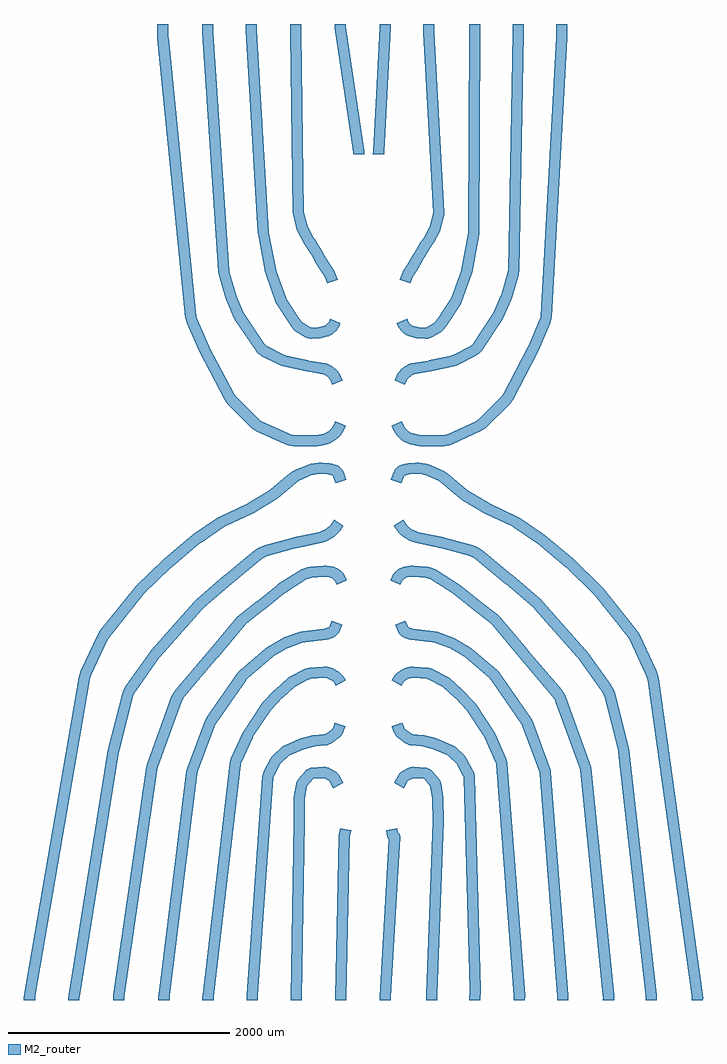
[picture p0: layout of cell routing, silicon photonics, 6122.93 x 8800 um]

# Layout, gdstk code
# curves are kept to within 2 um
import gdstk
lib = gdstk.Library(unit=1e-6, precision=1e-09)
def P(c, l, *ps):  # polygons
    for p in ps: c.add(gdstk.Polygon(p, *l))
M2_router = (12, 0)

routing = lib.new_cell('routing')
P(routing, M2_router, [(420.245,2060.518),(326.651,2095.734),(357.027,2173.015),(440.384,2305.023),(516.977,2436.928),(545.864,2478.916),(596.979,2572.418),(629.42,2699.89),(536.61,4320.084),(536.814,4400),(636.816,4400),(636.535,4324.264),(729.185,2690.283),(686.857,2528.352),(632.331,2428.611),(602.226,2384.621),(526.108,2253.527),(443.659,2122.747)],
  [(-327.617,2060.518),(-351.073,2122.81),(-433.469,2253.508),(-509.581,2384.592),(-539.741,2428.68),(-594.116,2528.145),(-635.583,2682.612),(-662.298,4400),(-562.298,4400),(-537.229,2701.603),(-504.35,2572.415),(-453.255,2478.95),(-424.321,2436.881),(-347.767,2305.042),(-264.49,2173.154),(-234.023,2095.734)],
  [(-416.445,593.559),(-633.455,594.216),(-683.723,602.314),(-707.578,610.614),(-966.063,729.919),(-1017.322,765.661),(-1223.469,971.808),(-1252.272,1010.894),(-1478.647,1440.711),(-1592.539,1704.211),(-1604.947,1752.136),(-1857.664,4268.993),(-1859.511,4400),(-1759.506,4400),(-1757.94,4276.747),(-1505.927,1766.896),(-1498.797,1739.36),(-1389.258,1485.582),(-1165.984,1061.653),(-1149.434,1039.195),(-940.365,831.477),(-920.512,819.032),(-670.105,703.456),(-628.269,694.2),(-422.189,693.576),(-355.762,707.427),(-320.858,723.516),(-293.888,746.279),(-276.105,768.113),(-253.458,816.431),(-161.842,776.349),(-179.434,736.137),(-206.482,693.688),(-223.324,675.258),(-264.945,640.439),(-284.97,628.454),(-327.833,611.304),(-385.998,597.161)],
  [(508.237,593.556),(479.438,596.963),(418.041,611.893),(377.433,628.141),(358.451,639.502),(314.448,676.614),(298.5,694.066),(272.874,734.282),(254.47,776.349),(346.086,816.431),(368.898,767.415),(385.012,747.636),(414.364,722.58),(445.97,708.016),(513.98,693.574),(722.946,694.207),(760.872,702.597),(1014.661,819.734),(1032.648,831.008),(1242.984,1040.117),(1258.004,1060.499),(1482.011,1485.82),(1590.277,1736.693),(1597.562,1767.654),(1737.181,4277.042),(1737.617,4400),(1837.617,4400),(1837.1,4272.805),(1697.186,1758.113),(1683.701,1700.808),(1571.4,1440.948),(1344.292,1009.74),(1317.019,972.73),(1108.766,764.477),(1060.212,730.621),(798.345,609.755),(775.757,601.896),(728.133,594.222)],
  [(-461.756,1562.254),(-488.652,1564.419),(-514.975,1572.047),(-592.771,1615.13),(-622.362,1639.88),(-661.305,1687.298),(-789.729,1887.416),(-885.752,2158.238),(-952.31,2512.919),(-1062.053,4336.916),(-1062.268,4400),(-962.268,4400),(-962.146,4341.455),(-852.682,2522.098),(-787.148,2176.731),(-694.822,1921.156),(-579.224,1744.492),(-542.883,1702.156),(-481.162,1666.594),(-463.087,1662.334),(-403.101,1666.122),(-344.644,1681.497),(-314.909,1709.757),(-300.255,1742.229),(-207.945,1703.771),(-220.35,1673.997),(-234.333,1650.307),(-267.165,1615.003),(-299.252,1592.258),(-323.589,1582.728),(-383.69,1567.913)],
  [(557.034,1562.107),(476.872,1567.777),(413.726,1583.342),(391.243,1592.148),(361.586,1613.167),(326.511,1650.639),(313.592,1672.523),(300.573,1703.771),(392.883,1742.229),(407.087,1710.088),(436.635,1681.387),(496.283,1665.985),(558.366,1662.187),(571.484,1665.278),(635.999,1702.343),(671.657,1744.194),(787.846,1921.761),(879.938,2177.183),(944.956,2520.902),(953.287,4400),(1053.291,4400),(1043.708,2503.117),(978.291,2157.767),(874.75,1871.937),(753.738,1687),(705.77,1630.332),(686.703,1615.874),(606.23,1571.164),(581.882,1564.109)],
  [(185.598,3225.51),(85.598,3225.764),(85.659,3249.753),(85.71,3251.536),(146.281,4371.194),(146.309,4400),(246.309,4400),(246.28,4369.355),(246.229,4367.516),(185.655,3247.827)],
  [(-92.97,3225.51),(-93.02,3245.475),(-258.745,4363.125),(-259.189,4369.09),(-259.228,4400),(-159.228,4400),(-159.195,4373.527),(6.525,3255.92),(6.968,3250.008),(7.03,3225.764)],
  [(-280.583,1149.568),(-302.833,1197.494),(-335.039,1227.693),(-350.464,1237.222),(-367.677,1242.92),(-517.631,1268.392),(-737.945,1318.315),(-916.051,1406.003),(-947.658,1428.185),(-973.661,1456.733),(-1159.346,1733.757),(-1238.502,1911.69),(-1306.632,2143.396),(-1310.419,2164.838),(-1454.912,4314.936),(-1455.101,4400),(-1355.101,4400),(-1355.024,4319.955),(-1211.006,2176.923),(-1145.523,1948.639),(-1073.768,1785.687),(-893.165,1516.245),(-881.47,1503.35),(-867.199,1493.381),(-704.51,1412.673),(-497.28,1366.308),(-346.27,1340.72),(-308.115,1327.996),(-290.17,1318.328),(-245.384,1282.684),(-221.928,1256.484),(-204.156,1226.14),(-188.277,1188.032)],
  [(373.211,1149.568),(280.905,1188.032),(297.597,1228.091),(314.326,1256.652),(336.402,1281.313),(383.681,1319.23),(400.585,1328.337),(436.497,1340.314),(589.758,1366.274),(797.162,1412.604),(961.914,1494.424),(974.326,1503.091),(984.494,1514.308),(1166.707,1786.15),(1240.251,1954.381),(1303.065,2177.261),(1345.103,4319.112),(1343.52,4400),(1443.54,4400),(1445.103,4318.14),(1402.965,2171.189),(1398.153,2139.584),(1335.395,1923.435),(1252.285,1734.22),(1064.99,1454.795),(1040.514,1427.926),(1010.765,1407.046),(830.597,1318.246),(610.108,1268.359),(457.903,1242.514),(442.933,1237.563),(429.521,1229.273),(395.231,1197.662)],
  [(-255.027,-4400),(-254.929,-4370.385),(-254.922,-4369.771),(-223.636,-2920.484),(-222.953,-2914.425),(-209.813,-2850.598),(-111.867,-2870.762),(-123.79,-2928.676),(-154.931,-4371.307),(-155.026,-4400)],
  [(-655.39,-4400),(-627.481,-2573.152),(-607.937,-2451.102),(-602.687,-2433.449),(-588.672,-2409.47),(-519.98,-2330.5),(-503.712,-2318.832),(-475.718,-2308.153),(-358.196,-2298.818),(-339.726,-2299.902),(-313.067,-2308.135),(-257.484,-2337.037),(-241.717,-2348.202),(-222.885,-2370.424),(-183.908,-2439.279),(-270.932,-2488.541),(-307.662,-2423.656),(-355.327,-2398.872),(-454.08,-2406.023),(-509.882,-2471.204),(-528.179,-2585.711),(-555.388,-4400)],
  [(-1054.326,-4400),(-1054.496,-4352.95),(-912.196,-2384.17),(-905.203,-2353.676),(-825.91,-2205.931),(-728.972,-2114.184),(-706.166,-2100.86),(-562.498,-2041.182),(-456.035,-2014.11),(-354.588,-2004.393),(-341.349,-2000.429),(-280.804,-1956.31),(-274.145,-1944.96),(-258.275,-1899.334),(-163.825,-1932.186),(-187.253,-1995.487),(-214.408,-2031.714),(-282.925,-2082.166),(-310.904,-2096.225),(-341.329,-2103.625),(-435.363,-2112.036),(-534.208,-2137.171),(-667.275,-2193.351),(-746.424,-2266.92),(-810.736,-2386.973),(-954.61,-4358.132),(-954.321,-4400)],
  [(-1452.373,-4400),(-1451.507,-4358.266),(-1205.35,-2263.166),(-1194.901,-2225.069),(-1081.917,-1974.641),(-918.431,-1730.034),(-797.7,-1600.434),(-683.721,-1498.989),(-663.218,-1484.792),(-525.951,-1414.511),(-489.116,-1405.7),(-362.896,-1394.131),(-327.504,-1395.644),(-292.709,-1404.248),(-240.343,-1429.607),(-209.401,-1451.699),(-183.566,-1480.198),(-161.19,-1518.994),(-249.63,-1565.666),(-264.55,-1539.11),(-275.954,-1526.53),(-290.157,-1516.433),(-333.926,-1496.272),(-357.927,-1494.095),(-475.543,-1504.875),(-500.666,-1512.309),(-621.785,-1577.736),(-732.879,-1676.883),(-837.607,-1789.066),(-996.403,-2026.657),(-1101.612,-2261.391),(-1106.583,-2279.516),(-1351.865,-4367.168),(-1352.372,-4400)],
  [(-1849.168,-4400),(-1848.132,-4349.555),(-1597.103,-2337.946),(-1590.15,-2309.668),(-1423.805,-1869.566),(-1125.288,-1440.722),(-885.093,-1231.089),(-866.392,-1217.728),(-714.259,-1131.422),(-570.858,-1080.012),(-542.159,-1073.415),(-351.869,-1052.847),(-324.955,-1045.601),(-313.32,-1039.71),(-306.982,-1032.59),(-284.148,-979.208),(-192.052,-1018.172),(-215.179,-1072.835),(-227.35,-1093.517),(-243.578,-1111.747),(-273.412,-1132.125),(-312.163,-1146.735),(-336.295,-1151.746),(-542.684,-1176.144),(-688.582,-1229.782),(-823.2,-1309.77),(-1050.896,-1507.713),(-1335.152,-1916.069),(-1498.598,-2356.139),(-1748.524,-4358.912),(-1749.168,-4400)],
  [(-2258.231,-4400),(-2256.483,-4357.497),(-1958.346,-2300.638),(-1950.753,-2270.468),(-1720.781,-1644.696),(-1693.475,-1602.58),(-1140.745,-949.466),(-1117.911,-927.452),(-779.817,-658.679),(-580.009,-528.825),(-531.559,-506.339),(-505.65,-498.889),(-360.091,-483.369),(-329.861,-483.594),(-270.034,-494.699),(-235.89,-508.407),(-206.968,-527.734),(-182.778,-552.731),(-164.624,-581.882),(-149.044,-617.294),(-240.576,-657.566),(-257.85,-619.891),(-271.132,-604.619),(-288.938,-594.099),(-317.706,-585.911),(-355.927,-583.402),(-466.196,-593.425),(-514.369,-607.231),(-719.047,-738.141),(-1052.274,-1003.078),(-1067.57,-1017.824),(-1614.693,-1664.303),(-1631.91,-1690.8),(-1855.03,-2299.854),(-1860.116,-2320.065),(-2157.031,-4368.487),(-2158.228,-4400)],
  [(-2660.832,-4400),(-2658.657,-4354.855),(-2304.723,-2146.55),(-2177.161,-1642.079),(-2154.746,-1586.646),(-2139.576,-1561.085),(-1913.189,-1245.552),(-1525.673,-807.55),(-1253.5,-571.078),(-979.687,-346.531),(-921.1,-311.979),(-889.451,-300.045),(-638.091,-231.913),(-381.71,-174.88),(-339.179,-153.443),(-312.793,-133.64),(-290.851,-109.005),(-264.113,-69.604),(-181.367,-125.756),(-226.625,-188.661),(-245.024,-207.342),(-286.553,-238.575),(-346.331,-268.585),(-378.164,-278.581),(-613.258,-328.791),(-858.658,-395.306),(-900.678,-413.948),(-919.998,-426.907),(-1186.415,-645.324),(-1441.079,-864.566),(-1836.565,-1309.859),(-2066.168,-1633.331),(-2081.285,-1670.812),(-2206.34,-2164.6),(-2559.284,-4366.73),(-2560.832,-4400)],
  [(-3061.462,-4400),(-3058.444,-4347.169),(-2567.653,-1493.32),(-2547.586,-1429.238),(-2397.115,-1106.801),(-2371.825,-1066.155),(-2051.563,-669.661),(-1796.345,-421.341),(-1522.692,-193.841),(-1321.638,-56.913),(-1294.446,-41.366),(-1048.361,74.743),(-854.052,189.803),(-668.38,343.668),(-637.084,365.352),(-603.541,383.364),(-508.449,423.407),(-475.693,434.019),(-406.953,445.103),(-310.011,440.389),(-254.034,426.811),(-228.97,415.088),(-208.13,399.404),(-184.201,368.566),(-154.443,292.385),(-248.077,257.275),(-270.821,317.931),(-278.35,327.787),(-305.232,337.917),(-322.846,341.091),(-376.142,345.3),(-401.19,345.139),(-449.742,337.309),(-560.386,293.032),(-607.553,264.156),(-772.956,124.793),(-799.344,105.996),(-1003.499,-14.662),(-1268.594,-141.776),(-1464.368,-275.108),(-1730.73,-496.828),(-1979.546,-739.107),(-2290.092,-1124.085),(-2309.037,-1154.532),(-2455.207,-1467.754),(-2469.805,-1514.372),(-2959.197,-4360.08),(-2961.459,-4400)],
  [(144.348,-4400),(229.624,-2953.333),(217.948,-2933.654),(204.495,-2870.762),(302.441,-2850.598),(309.807,-2886.379),(324.721,-2904.723),(331.071,-2932.195),(244.355,-4400)],
  [(564.195,-4400),(622.241,-2791.943),(620.785,-2585.33),(602.51,-2471.203),(546.708,-2406.023),(447.954,-2398.872),(400.291,-2423.655),(363.56,-2488.541),(276.536,-2439.279),(315.848,-2369.833),(334.172,-2348.212),(406.271,-2307.836),(441.371,-2298.849),(569.07,-2308.183),(596.32,-2318.577),(618.804,-2336.471),(681.72,-2409.961),(695.356,-2433.292),(700.463,-2450.465),(720.778,-2581.1),(722.215,-2794.433),(664.325,-4400)],
  [(952.933,-4400),(956.721,-4305.692),(903.53,-2388.029),(839.143,-2266.85),(760.351,-2193.464),(627.233,-2137.272),(527.558,-2111.926),(431.834,-2103.444),(403.419,-2096.531),(377.289,-2083.403),(305.702,-2030.873),(280.314,-1997.004),(256.453,-1932.186),(350.903,-1899.334),(372.771,-1956.189),(434.816,-2001.147),(548.23,-2014),(655.523,-2041.283),(800.017,-2101.376),(821.315,-2113.82),(918.629,-2205.861),(991.401,-2338.548),(1000.306,-2362.358),(1004.374,-2387.451),(1056.697,-4309.627),(1053.017,-4400)],
  [(1355.294,-4400),(1356.396,-4360.143),(1198.405,-2278.768),(1193.737,-2260.26),(1089.283,-2027.034),(929.989,-1788.698),(825.347,-1676.714),(713.928,-1577.304),(592.019,-1511.639),(569.606,-1505.006),(448.285,-1493.887),(426.916,-1495.821),(380.6,-1517.559),(367.94,-1526.557),(357.809,-1537.732),(342.258,-1565.666),(253.818,-1518.994),(276.825,-1478.82),(301.388,-1451.725),(330.786,-1430.734),(386.546,-1403.542),(419.626,-1395.362),(453.254,-1393.923),(583.179,-1405.831),(618.177,-1414.204),(756.42,-1485.094),(775.864,-1498.558),(890.502,-1600.589),(1010.813,-1729.666),(1174.797,-1975.019),(1287.289,-2224.528),(1297.713,-2265.855),(1456.319,-4355.332),(1455.355,-4400)],
  [(1745.068,-4400),(1745.538,-4362.512),(1590.624,-2358.004),(1585.615,-2335.348),(1432.211,-1925.408),(1422.616,-1907.115),(1143.576,-1507.666),(915.425,-1309.421),(780.751,-1229.515),(634.667,-1175.912),(404.763,-1146.841),(366.04,-1132.125),(336.206,-1111.747),(313.281,-1083.298),(284.68,-1018.172),(376.776,-979.208),(399.61,-1032.59),(405.948,-1039.71),(418.615,-1046.06),(443.375,-1052.725),(635.468,-1073.488),(662.841,-1079.781),(827.163,-1140.818),(977.317,-1230.74),(1217.969,-1440.675),(1506.922,-1853.192),(1524.498,-1886.699),(1680.812,-2304.414),(1689.989,-2345.92),(1845.756,-4368.956),(1845.091,-4400)],
  [(2158.876,-4400),(2159.087,-4363.472),(1952.343,-2323.214),(1945.87,-2294.944),(1724.448,-1690.342),(1708.19,-1665.325),(1145.355,-1003.431),(811.448,-737.957),(606.211,-606.629),(560.74,-593.599),(446.924,-583.254),(410.838,-585.621),(381.566,-594.099),(363.76,-604.619),(350.478,-619.891),(333.204,-657.566),(241.672,-617.294),(257.252,-581.882),(275.406,-552.731),(299.596,-527.734),(328.518,-508.407),(364.206,-494.151),(421.929,-483.438),(451.088,-483.22),(599.269,-498.897),(624.273,-506.088),(671.02,-527.783),(872.217,-658.495),(1210.992,-927.805),(1233.003,-949.026),(1786.973,-1603.603),(1813.318,-1644.238),(2041.164,-2264.379),(2051.442,-2309.272),(2258.901,-4356.587),(2258.914,-4400)],
  [(2544.554,-4400),(2544.785,-4366.383),(2298.691,-2165.977),(2173.506,-1669.212),(2159.201,-1633.741),(1929.416,-1310.111),(1534.039,-864.852),(1279.103,-645.374),(992.873,-413.44),(953.107,-395.8),(705.715,-328.744),(469.588,-278.324),(438.917,-268.694),(379.181,-238.575),(337.652,-207.342),(319.253,-188.661),(273.995,-125.756),(356.741,-69.604),(383.479,-109.005),(405.421,-133.64),(431.807,-153.443),(474.297,-174.989),(730.547,-231.867),(983.9,-300.538),(1014.393,-312.037),(1070.856,-345.334),(1346.069,-571.027),(1618.011,-807.223),(2006.04,-1245.804),(2233.163,-1562.429),(2247.78,-1587.056),(2269.382,-1640.479),(2397.688,-2151.441),(2644.629,-4359.412),(2644.708,-4400)],
  [(2960.782,-4400),(2960.082,-4359.558),(2561.604,-1515.647),(2546.699,-1465.318),(2401.383,-1153.928),(2383.138,-1124.605),(2072.413,-739.34),(1823.521,-496.965),(1557.221,-275.261),(1360.863,-141.531),(1095.885,-14.548),(891.586,106.227),(865.928,124.503),(699.377,264.833),(653.982,292.624),(541.492,337.766),(494.795,345.296),(470.688,345.451),(415.474,341.091),(397.86,337.917),(370.978,327.787),(363.449,317.931),(340.705,257.275),(247.071,292.385),(276.829,368.566),(300.758,399.404),(321.598,415.088),(346.662,426.811),(402.639,440.389),(500.558,445.261),(567.443,434.476),(599.304,424.153),(697.137,382.956),(729.764,365.436),(760.205,344.345),(946.294,190.033),(1140.747,74.857),(1387.467,-41.551),(1413.907,-56.668),(1615.544,-193.994),(1889.137,-421.477),(2144.43,-669.895),(2464.87,-1066.675),(2489.461,-1106.196),(2639.284,-1427.244),(2651.589,-1461.627),(2659.991,-1497.166),(3059.735,-4350.107),(3060.86,-4400)])

lib.write_gds('routing.gds')
